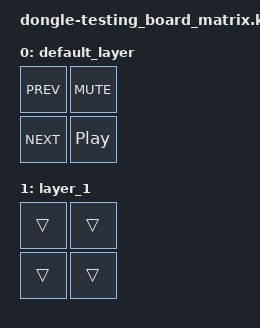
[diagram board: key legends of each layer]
#include <behaviors.dtsi>
#include <dt-bindings/zmk/keys.h>

/ {
    keymap {
        compatible = "zmk,keymap";

        default_layer {
            bindings = <
&kp C_PREV  &kp C_MUTE
&kp C_NEXT  &kp C_PLAY_PAUSE
            >;
        };

        layer_1 {
            bindings = <
&trans  &trans
&trans  &trans
            >;
        };
    };
};
